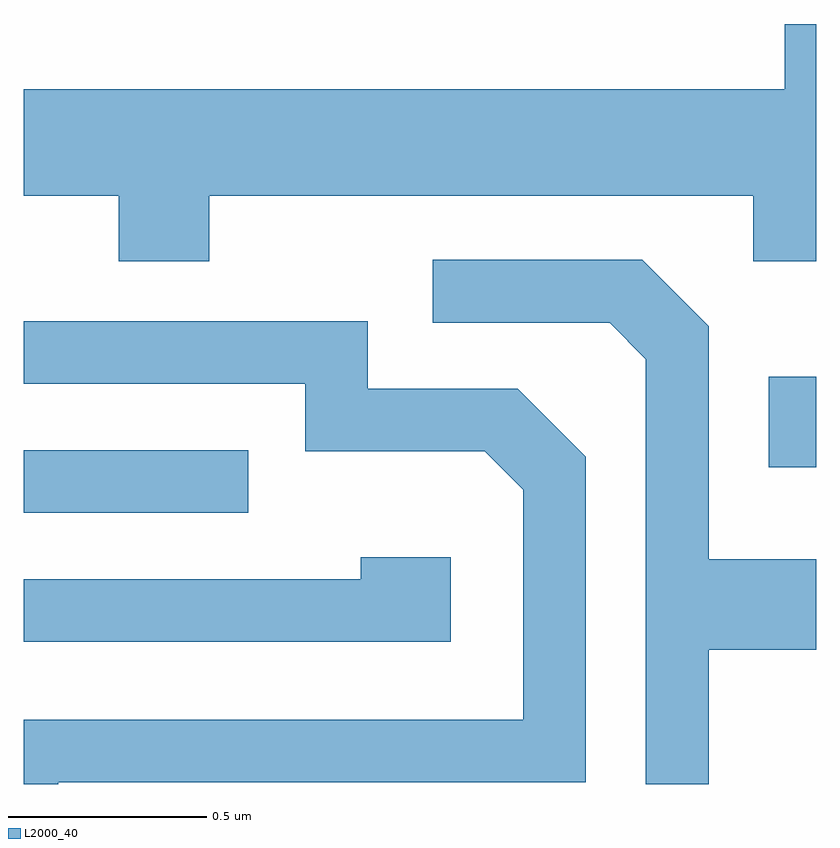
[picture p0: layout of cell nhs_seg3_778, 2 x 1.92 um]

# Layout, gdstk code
import gdstk
lib = gdstk.Library(unit=1e-6, precision=1e-09)
def R(c, l, rs):  # rectangles x0, y0, x1, y1
    for r in rs: c.add(gdstk.rectangle(r[:2], r[2:], *l))
def P(c, l, *ps):  # polygons
    for p in ps: c.add(gdstk.Polygon(p, *l))
L2000_40 = (2000, 40)

nhs_seg3_778 = lib.new_cell('nhs_seg3_778')
R(nhs_seg3_778, L2000_40, [(190.611,1209.576,191.178,1209.734), (192.491,1209.691,192.611,1209.919)])
P(nhs_seg3_778, L2000_40, [(191.079,1210.376),(192.451,1210.376),(192.451,1210.211),(192.611,1210.211),(192.611,1210.809),(192.531,1210.809),(192.531,1210.644),(190.611,1210.644),(190.611,1210.376),(190.851,1210.376),(190.851,1210.211),(191.079,1210.211)],
  [(192.339,1209.231),(192.611,1209.231),(192.611,1209.459),(192.339,1209.459),(192.339,1210.047),(192.172,1210.214),(191.643,1210.214),(191.643,1210.056),(192.089,1210.056),(192.181,1209.964),(192.181,1208.892),(192.339,1208.892)],
  [(190.699,1208.896),(192.029,1208.896),(192.029,1209.717),(191.857,1209.889),(191.479,1209.889),(191.479,1210.059),(190.611,1210.059),(190.611,1209.901),(191.321,1209.901),(191.321,1209.731),(191.774,1209.731),(191.871,1209.634),(191.871,1209.054),(190.611,1209.054),(190.611,1208.892),(190.699,1208.892)],
  [(191.689,1209.464),(191.461,1209.464),(191.461,1209.409),(190.611,1209.409),(190.611,1209.251),(191.689,1209.251)])

lib.write_gds('nhs_seg3_778.gds')
